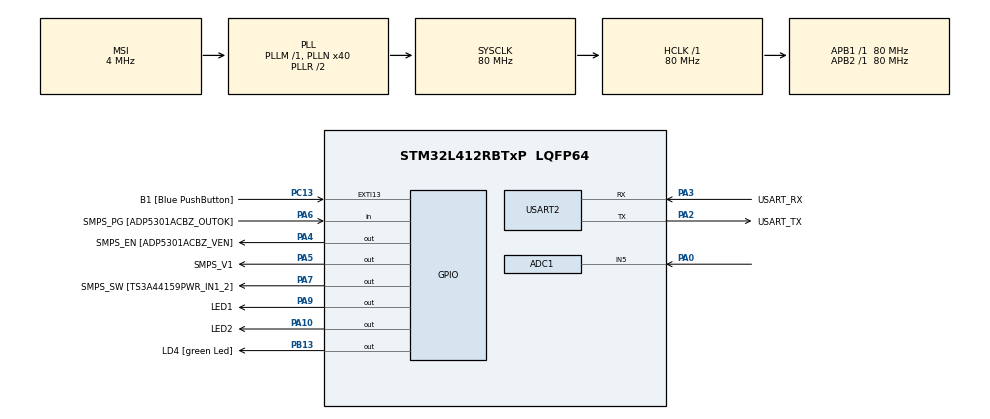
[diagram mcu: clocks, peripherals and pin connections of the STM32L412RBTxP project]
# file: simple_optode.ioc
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ADC1.Channel-0\#ChannelRegularConversion=ADC_CHANNEL_5
ADC1.NbrOfConversionFlag=1
ADC1.OffsetNumber-0\#ChannelRegularConversion=ADC_OFFSET_NONE
ADC1.Rank-0\#ChannelRegularConversion=1
ADC1.Resolution=ADC_RESOLUTION_8B
ADC1.SamplingTime-0\#ChannelRegularConversion=ADC_SAMPLETIME_2CYCLES_5
ADC1.master=1
Mcu.Family=STM32L4
Mcu.Name=STM32L412RBTxP
Mcu.Package=LQFP64
NVIC.PriorityGroup=NVIC_PRIORITYGROUP_4
PA0.Signal=ADCx_IN5
PA10.GPIO_Label=LED2
PA10.Signal=GPIO_Output
PA13\ (JTMS/SWDIO).GPIO_Label=TMS
PA13\ (JTMS/SWDIO).Mode=Serial_Wire
PA13\ (JTMS/SWDIO).Signal=SYS_JTMS-SWDIO
PA14\ (JTCK/SWCLK).GPIO_Label=TCK
PA14\ (JTCK/SWCLK).Mode=Serial_Wire
PA14\ (JTCK/SWCLK).Signal=SYS_JTCK-SWCLK
PA2.GPIO_Label=USART_TX
PA2.GPIO_PuPd=GPIO_NOPULL
PA2.GPIO_Speed=GPIO_SPEED_FREQ_VERY_HIGH
PA2.Mode=Asynchronous
PA2.Signal=USART2_TX
PA3.GPIO_Label=USART_RX
PA3.GPIO_PuPd=GPIO_NOPULL
PA3.GPIO_Speed=GPIO_SPEED_FREQ_VERY_HIGH
PA3.Mode=Asynchronous
PA3.Signal=USART2_RX
PA4.GPIO_Label=SMPS_EN [ADP5301ACBZ_VEN]
PA4.Signal=GPIO_Output
PA5.GPIO_Label=SMPS_V1
PA5.GPIO_ModeDefaultOutputPP=GPIO_MODE_OUTPUT_PP
PA5.GPIO_PuPd=GPIO_NOPULL
PA5.GPIO_Speed=GPIO_SPEED_FREQ_LOW
PA5.Signal=GPIO_Output
PA6.GPIO_Label=SMPS_PG [ADP5301ACBZ_OUTOK]
PA6.GPIO_PuPd=GPIO_PULLUP
PA6.Signal=GPIO_Input
PA7.GPIO_Label=SMPS_SW [TS3A44159PWR_IN1_2]
PA7.Signal=GPIO_Output
PA9.GPIO_Label=LED1
PA9.Signal=GPIO_Output
PB13.GPIO_Label=LD4 [green Led]
PB13.Signal=GPIO_Output
PB3\ (JTDO/TRACESWO).GPIO_Label=SWO
PB3\ (JTDO/TRACESWO).Signal=SYS_JTDO-SWO
PC13.GPIO_Label=B1 [Blue PushButton]
PC13.GPIO_ModeDefaultEXTI=GPIO_MODE_IT_FALLING
PC13.GPIO_PuPd=GPIO_NOPULL
PC13.Signal=GPXTI13
PC14-OSC32_IN\ (PC14).Mode=LSE-External-Oscillator
PC14-OSC32_IN\ (PC14).Signal=RCC_OSC32_IN
PC15-OSC32_OUT\ (PC15).Mode=LSE-External-Oscillator
PC15-OSC32_OUT\ (PC15).Signal=RCC_OSC32_OUT
PH0-OSC_IN\ (PH0).GPIO_Label=MCO
PH0-OSC_IN\ (PH0).Mode=HSE-External-Clock-Source
PH0-OSC_IN\ (PH0).Signal=RCC_OSC_IN
PH1-OSC_OUT\ (PH1).Signal=RCC_OSC_OUT
ProjectManager.HeapSize=0x200
ProjectManager.StackSize=0x400
ProjectManager.TargetToolchain=STM32CubeIDE
RCC.ADCFreq_Value=80000000
RCC.AHBFreq_Value=80000000
RCC.APB1Freq_Value=80000000
RCC.APB1TimFreq_Value=80000000
RCC.APB2Freq_Value=80000000
RCC.APB2TimFreq_Value=80000000
RCC.CortexFreq_Value=80000000
RCC.FLatency=FLASH_LATENCY_4
RCC.HCLKFreq_Value=80000000
RCC.HSE_VALUE=8000000
RCC.HSI48_VALUE=48000000
RCC.HSICalibrationValue=16
RCC.HSI_VALUE=16000000
RCC.MSIAutoCalibration=DISABLED
RCC.MSI_VALUE=4000000
RCC.PLLN=40
RCC.PREFETCH_ENABLE=1
RCC.SYSCLKFreq_VALUE=80000000
RCC.SYSCLKSource=RCC_SYSCLKSOURCE_PLLCLK
RCC.USBFreq_Value=4000000
RCC.VCOOutputFreq_Value=160000000
SH.ADCx_IN5.0=ADC1_IN5,IN5-Single-Ended
USART2.VirtualMode-Asynchronous=VM_ASYNC
board=NUCLEO-L412RB-P

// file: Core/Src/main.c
/* USER CODE BEGIN Header */
/**
  ******************************************************************************
  * @file           : main.c
  * @brief          : Main program body
  ******************************************************************************
  * @attention
  *
  * <h2><center>&copy; Copyright (c) 2022 STMicroelectronics.
  * All rights reserved.</center></h2>
  *
  * This software component is licensed by ST under BSD 3-Clause license,
  * the "License"; You may not use this file except in compliance with the
  * License. You may obtain a copy of the License at:
  *                        opensource.org/licenses/BSD-3-Clause
  *
  ******************************************************************************
  */
/* USER CODE END Header */
#include "main.h"

ADC_HandleTypeDef hadc1;

UART_HandleTypeDef huart2;

void SystemClock_Config(void);
static void MX_GPIO_Init(void);
static void MX_USART2_UART_Init(void);
static void MX_ADC1_Init(void);

int main(void)
{
  /* USER CODE BEGIN 1 */
	uint16_t raw;
	char msg[10];
  /* USER CODE END 1 */

  /* MCU Configuration--------------------------------------------------------*/

  /* Reset of all peripherals, Initializes the Flash interface and the Systick. */
  HAL_Init();

  /* Configure the system clock */
  SystemClock_Config();

  /* Initialize all configured peripherals */
  MX_GPIO_Init();
  MX_USART2_UART_Init();
  MX_ADC1_Init();

  /* Infinite loop */
  while (1)
  {

    /* USER CODE BEGIN 3 */
	  HAL_GPIO_WritePin(GPIOA, GPIO_PIN_10, GPIO_PIN_SET);
	  HAL_Delay(150);

	  HAL_ADC_Start(&hadc1);
	  HAL_ADC_PollForConversion(&hadc1, HAL_MAX_DELAY);
	  raw = HAL_ADC_GetValue(&hadc1);

	  sprintf(msg, "%hu\r\n", raw);

	  HAL_UART_Transmit(&huart2, (uint8_t*)msg, strlen(msg), HAL_MAX_DELAY);

	  HAL_Delay(50);
	  HAL_GPIO_WritePin(GPIOA, GPIO_PIN_10, GPIO_PIN_RESET);

	  ///////////////////////////////////////////////////////////////////////////////////////////////////////////////////

	  HAL_GPIO_WritePin(GPIOA, GPIO_PIN_9, GPIO_PIN_SET);
	  HAL_Delay(150);

	  HAL_ADC_Start(&hadc1);
	  HAL_ADC_PollForConversion(&hadc1, HAL_MAX_DELAY);
	  raw = HAL_ADC_GetValue(&hadc1);

	  sprintf(msg, "%hu\r\n", raw);

	  HAL_UART_Transmit(&huart2, (uint8_t*)msg, strlen(msg), HAL_MAX_DELAY);

	  HAL_Delay(50);
	  HAL_GPIO_WritePin(GPIOA, GPIO_PIN_9, GPIO_PIN_RESET);
  }
  /* USER CODE END 3 */
}

void SystemClock_Config(void)
{
  RCC_OscInitTypeDef RCC_OscInitStruct = {0};
  RCC_ClkInitTypeDef RCC_ClkInitStruct = {0};

  /** Configure the main internal regulator output voltage
  */
  if (HAL_PWREx_ControlVoltageScaling(PWR_REGULATOR_VOLTAGE_SCALE1) != HAL_OK)
  {
    Error_Handler();
  }
  /** Initializes the RCC Oscillators according to the specified parameters
  * in the RCC_OscInitTypeDef structure.
  */
  RCC_OscInitStruct.OscillatorType = RCC_OSCILLATORTYPE_MSI;
  RCC_OscInitStruct.MSIState = RCC_MSI_ON;
  RCC_OscInitStruct.MSICalibrationValue = 0;
  RCC_OscInitStruct.MSIClockRange = RCC_MSIRANGE_6;
  RCC_OscInitStruct.PLL.PLLState = RCC_PLL_ON;
  RCC_OscInitStruct.PLL.PLLSource = RCC_PLLSOURCE_MSI;
  RCC_OscInitStruct.PLL.PLLM = 1;
  RCC_OscInitStruct.PLL.PLLN = 40;
  RCC_OscInitStruct.PLL.PLLQ = RCC_PLLQ_DIV2;
  RCC_OscInitStruct.PLL.PLLR = RCC_PLLR_DIV2;
  if (HAL_RCC_OscConfig(&RCC_OscInitStruct) != HAL_OK)
  {
    Error_Handler();
  }
  /** Initializes the CPU, AHB and APB buses clocks
  */
  RCC_ClkInitStruct.ClockType = RCC_CLOCKTYPE_HCLK|RCC_CLOCKTYPE_SYSCLK
                              |RCC_CLOCKTYPE_PCLK1|RCC_CLOCKTYPE_PCLK2;
  RCC_ClkInitStruct.SYSCLKSource = RCC_SYSCLKSOURCE_PLLCLK;
  RCC_ClkInitStruct.AHBCLKDivider = RCC_SYSCLK_DIV1;
  RCC_ClkInitStruct.APB1CLKDivider = RCC_HCLK_DIV1;
  RCC_ClkInitStruct.APB2CLKDivider = RCC_HCLK_DIV1;

  if (HAL_RCC_ClockConfig(&RCC_ClkInitStruct, FLASH_LATENCY_4) != HAL_OK)
  {
    Error_Handler();
  }
}

static void MX_ADC1_Init(void)
{

  ADC_MultiModeTypeDef multimode = {0};
  ADC_ChannelConfTypeDef sConfig = {0};

  /** Common config
  */
  hadc1.Instance = ADC1;
  hadc1.Init.ClockPrescaler = ADC_CLOCK_ASYNC_DIV1;
  hadc1.Init.Resolution = ADC_RESOLUTION_8B;
  hadc1.Init.DataAlign = ADC_DATAALIGN_RIGHT;
  hadc1.Init.ScanConvMode = ADC_SCAN_DISABLE;
  hadc1.Init.EOCSelection = ADC_EOC_SINGLE_CONV;
  hadc1.Init.LowPowerAutoWait = DISABLE;
  hadc1.Init.ContinuousConvMode = DISABLE;
  hadc1.Init.NbrOfConversion = 1;
  hadc1.Init.DiscontinuousConvMode = DISABLE;
  hadc1.Init.ExternalTrigConv = ADC_SOFTWARE_START;
  hadc1.Init.ExternalTrigConvEdge = ADC_EXTERNALTRIGCONVEDGE_NONE;
  hadc1.Init.DMAContinuousRequests = DISABLE;
  hadc1.Init.Overrun = ADC_OVR_DATA_PRESERVED;
  hadc1.Init.OversamplingMode = DISABLE;
  if (HAL_ADC_Init(&hadc1) != HAL_OK)
  {
    Error_Handler();
  }
  /** Configure the ADC multi-mode
  */
  multimode.Mode = ADC_MODE_INDEPENDENT;
  if (HAL_ADCEx_MultiModeConfigChannel(&hadc1, &multimode) != HAL_OK)
  {
    Error_Handler();
  }
  /** Configure Regular Channel
  */
  sConfig.Channel = ADC_CHANNEL_5;
  sConfig.Rank = ADC_REGULAR_RANK_1;
  sConfig.SamplingTime = ADC_SAMPLETIME_2CYCLES_5;
  sConfig.SingleDiff = ADC_SINGLE_ENDED;
  sConfig.OffsetNumber = ADC_OFFSET_NONE;
  sConfig.Offset = 0;
  if (HAL_ADC_ConfigChannel(&hadc1, &sConfig) != HAL_OK)
  {
    Error_Handler();
  }

}

static void MX_USART2_UART_Init(void)
{

  huart2.Instance = USART2;
  huart2.Init.BaudRate = 115200;
  huart2.Init.WordLength = UART_WORDLENGTH_8B;
  huart2.Init.StopBits = UART_STOPBITS_1;
  huart2.Init.Parity = UART_PARITY_NONE;
  huart2.Init.Mode = UART_MODE_TX_RX;
  huart2.Init.HwFlowCtl = UART_HWCONTROL_NONE;
  huart2.Init.OverSampling = UART_OVERSAMPLING_16;
  huart2.Init.OneBitSampling = UART_ONE_BIT_SAMPLE_DISABLE;
  huart2.AdvancedInit.AdvFeatureInit = UART_ADVFEATURE_NO_INIT;
  if (HAL_UART_Init(&huart2) != HAL_OK)
  {
    Error_Handler();
  }

}

static void MX_GPIO_Init(void)
{
  GPIO_InitTypeDef GPIO_InitStruct = {0};

  /* GPIO Ports Clock Enable */
  __HAL_RCC_GPIOC_CLK_ENABLE();
  __HAL_RCC_GPIOH_CLK_ENABLE();
  __HAL_RCC_GPIOA_CLK_ENABLE();
  __HAL_RCC_GPIOB_CLK_ENABLE();

  /*Configure GPIO pin Output Level */
  HAL_GPIO_WritePin(GPIOA, SMPS_EN_Pin|SMPS_V1_Pin|SMPS_SW_Pin|LED1_Pin
                          |LED2_Pin, GPIO_PIN_RESET);

  /*Configure GPIO pin Output Level */
  HAL_GPIO_WritePin(LD4_GPIO_Port, LD4_Pin, GPIO_PIN_RESET);

  /*Configure GPIO pin : B1_Pin */
  GPIO_InitStruct.Pin = B1_Pin;
  GPIO_InitStruct.Mode = GPIO_MODE_IT_FALLING;
  GPIO_InitStruct.Pull = GPIO_NOPULL;
  HAL_GPIO_Init(B1_GPIO_Port, &GPIO_InitStruct);

  /*Configure GPIO pins : SMPS_EN_Pin SMPS_V1_Pin SMPS_SW_Pin LED1_Pin
                           LED2_Pin */
  GPIO_InitStruct.Pin = SMPS_EN_Pin|SMPS_V1_Pin|SMPS_SW_Pin|LED1_Pin
                          |LED2_Pin;
  GPIO_InitStruct.Mode = GPIO_MODE_OUTPUT_PP;
  GPIO_InitStruct.Pull = GPIO_NOPULL;
  GPIO_InitStruct.Speed = GPIO_SPEED_FREQ_LOW;
  HAL_GPIO_Init(GPIOA, &GPIO_InitStruct);

  /*Configure GPIO pin : SMPS_PG_Pin */
  GPIO_InitStruct.Pin = SMPS_PG_Pin;
  GPIO_InitStruct.Mode = GPIO_MODE_INPUT;
  GPIO_InitStruct.Pull = GPIO_PULLUP;
  HAL_GPIO_Init(SMPS_PG_GPIO_Port, &GPIO_InitStruct);

  /*Configure GPIO pin : LD4_Pin */
  GPIO_InitStruct.Pin = LD4_Pin;
  GPIO_InitStruct.Mode = GPIO_MODE_OUTPUT_PP;
  GPIO_InitStruct.Pull = GPIO_NOPULL;
  GPIO_InitStruct.Speed = GPIO_SPEED_FREQ_LOW;
  HAL_GPIO_Init(LD4_GPIO_Port, &GPIO_InitStruct);

}

void Error_Handler(void)
{
  __disable_irq();
  while (1)
  {
  }
}

/************************ (C) COPYRIGHT STMicroelectronics *****END OF FILE****/
